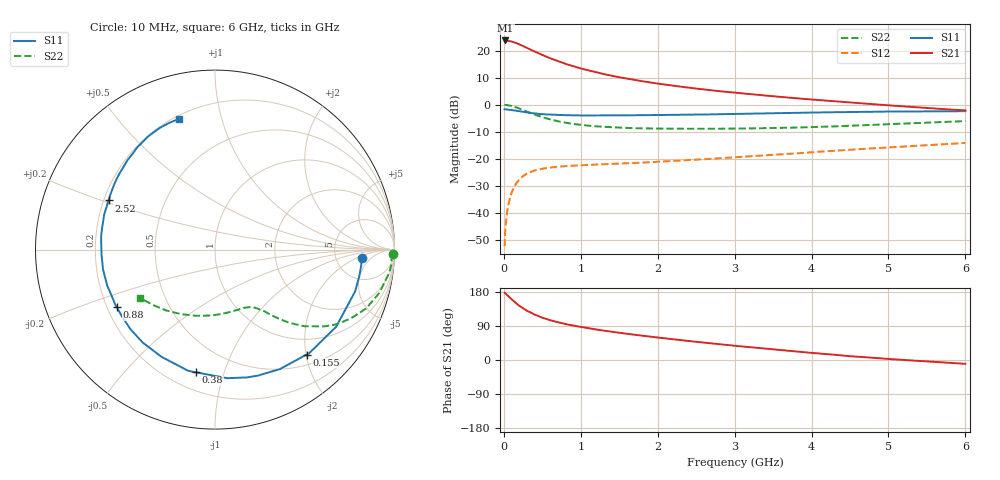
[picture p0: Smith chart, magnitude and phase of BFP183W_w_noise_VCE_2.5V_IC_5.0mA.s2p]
! Infineon Technologies  Discrete & RF Semiconductors
! BFP183W
! VCE = 2.5 V,  IC =  5.0 mA
! Common Emitter S-Parameters:  Jan 2016
# GHz  S  MA  R  50
!  f  S11  S21  S12  S22
! GHz  MAG  ANG  MAG  ANG  MAG  ANG  MAG  ANG
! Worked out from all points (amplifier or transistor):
!   210 points, 10 MHz to 6 GHz, reference 50 ohm
!   highest |S21| = 23.8 dB at 20 MHz (marker M1)
!   |S21| within 3 dB of that: start of sweep to 318.2 MHz
!   unconditionally stable (mu >= 1): 1.753 GHz to 5.701 GHz
!   at 185 MHz: K = 0.15, MSG = 25.4 dB, |S12| = -28.3 dB
!   at 1.52 GHz: K = 0.91, MSG = 15.9 dB, |S12| = -21.8 dB
!   at 6 GHz: K = 0.97, MSG = 6.0 dB, |S12| = -14.2 dB
!   lowest NFmin = 1.15 dB at 450 MHz
!   S11 on the Smith chart (normalised r, x): 10 MHz: 9.27, -2.75; 155 MHz: 0.68, -2.01; 380 MHz: 0.31, -0.81; 880 MHz: 0.24, -0.26; 2.52 GHz: 0.22, +0.21; 6 GHz: 0.22, +0.74
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0.01  0.8198 -3.4  15.32 177.2  0.0024 89.8  0.9918 -1.5
0.02  0.8192 -6.6  15.41 176.0  0.0052 87.1  0.9854 -3.1
0.05  0.8148 -16.6  15.26 170.0  0.0121 82.3  0.979 -7.6
0.1  0.8003 -32.5  14.74 160.4  0.0231 73.0  0.9473 -14.7
0.155  0.776 -48.9  13.92 150.4  0.0339 65.0  0.8978 -21.8
0.2  0.7578 -61.4  13.11 143.1  0.0409 59.5  0.8501 -26.7
0.26  0.7347 -75.7  11.99 135.1  0.0487 53.1  0.786 -32.2
0.3  0.7197 -84.6  11.22 129.9  0.053 49.7  0.7439 -35.1
0.38  0.6918 -98.8  9.911 122.1  0.0588 43.6  0.6717 -39.5
0.4  0.6917 -102.4  9.616 119.8  0.0604 42.3  0.6543 -40.7
0.5  0.6678 -116.4  8.289 111.6  0.0652 37.9  0.5859 -44.3
0.6  0.6562 -127.8  7.229 105.1  0.0686 34.3  0.533 -46.9
0.7  0.6468 -136.9  6.41 99.7  0.0709 32.2  0.4937 -48.7
0.88  0.6345 -149.7  5.253 91.8  0.0739 29.8  0.4438 -51.1
1.02  0.6307 -157.5  4.59 86.6  0.0755 28.9  0.4191 -53.0
1.48  0.6326 -176.5  3.259 72.4  0.0806 29.0  0.3757 -58.6
2.02  0.6411 167.1  2.431 58.9  0.0876 31.7  0.3597 -66.4
2.52  0.6536 155.2  1.969 47.7  0.0958 34.2  0.3574 -75.1
3.1  0.6764 143.2  1.612 35.7  0.1084 36.4  0.3614 -86.3
4.1  0.7173 126.1  1.214 17.2  0.1343 37.5  0.3873 -108.7
5.1  0.7452 113.7  0.948 1.4  0.1646 35.5  0.4398 -130.9
6  0.7556 105.5  0.781 -10.1  0.195 32.4  0.4956 -147.0
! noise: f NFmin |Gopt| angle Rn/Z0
0.45  1.15  0.25  40  0.26
0.9  1.2  0.25  93  0.22
1.8  1.95  0.32  170  0.13
